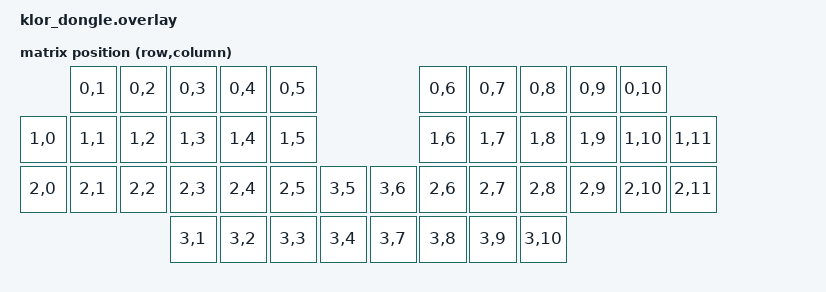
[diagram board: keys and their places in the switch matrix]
/*
 * KLOR Dongle overlay — XIAO BLE acting as split central + Prospector display
 *
 * No kscan: key events arrive from both halves over BLE split protocol.
 * No encoder GPIO: encoder events arrive from halves over BLE.
 * Encoder stubs + sensors node are still required so the keymap
 * sensor-bindings compile and ZMK can map incoming sensor indices.
 *
 * Display is provided by the prospector_adapter shield — not defined here.
 */

#include <dt-bindings/zmk/matrix_transform.h>

/ {
    chosen {
        zmk,matrix_transform = &default_transform;
        // zmk,kscan intentionally omitted — no physical matrix on dongle
        // zephyr,display handled by prospector_adapter
    };

    /*
     * Matrix transform copied verbatim from klor.dtsi.
     * 12 columns × 4 rows, 44 key positions.
     * Must match exactly what the peripheral halves report.
     */
    default_transform: keymap_transform_0 {
        compatible = "zmk,matrix-transform";
        columns = <12>;
        rows = <4>;
        map = <
        RC(0,1) RC(0,2) RC(0,3) RC(0,4) RC(0,5)                 RC(0,6) RC(0,7) RC(0,8) RC(0,9) RC(0,10)
RC(1,0) RC(1,1) RC(1,2) RC(1,3) RC(1,4) RC(1,5)                 RC(1,6) RC(1,7) RC(1,8) RC(1,9) RC(1,10) RC(1,11)
RC(2,0) RC(2,1) RC(2,2) RC(2,3) RC(2,4) RC(2,5) RC(3,5) RC(3,6) RC(2,6) RC(2,7) RC(2,8) RC(2,9) RC(2,10) RC(2,11)
                        RC(3,1) RC(3,2) RC(3,3) RC(3,4) RC(3,7) RC(3,8) RC(3,9) RC(3,10)
        >;
    };

    /*
     * Encoder stubs — no GPIO pins defined, status disabled.
     * The dongle does not physically have encoders. These nodes exist
     * only so the sensors node below has valid references, allowing
     * the keymap sensor-bindings to compile. ZMK routes encoder events
     * from the peripheral halves to these sensor indices at runtime.
     */
    left_encoder: encoder_left {
        compatible = "alps,ec11";
        label = "LEFT_ENCODER";
        resolution = <4>;
        status = "disabled";
    };

    right_encoder: encoder_right {
        compatible = "alps,ec11";
        label = "RIGHT_ENCODER";
        resolution = <4>;
        status = "disabled";
    };

    sensors: sensors {
        compatible = "zmk,keymap-sensors";
        sensors = <&left_encoder &right_encoder>;
    };
};
